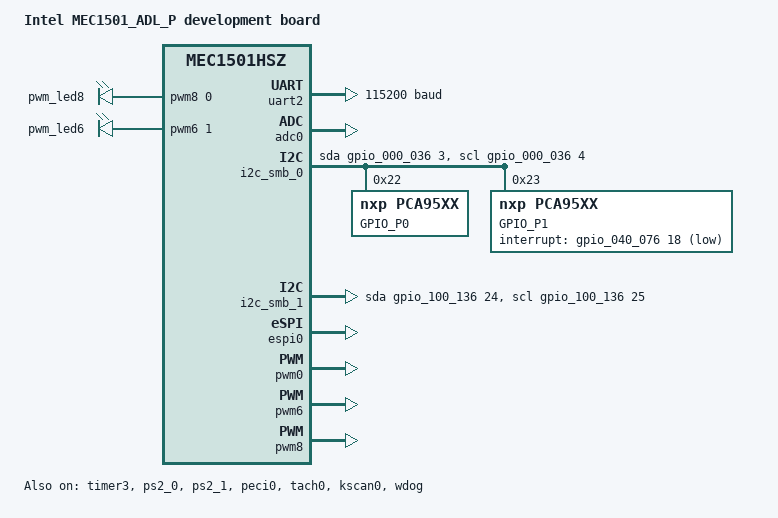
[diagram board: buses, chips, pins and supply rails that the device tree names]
/*
 * Copyright (c) 2020, Intel Corporation
 *
 * SPDX-License-Identifier: Apache-2.0
 */

/dts-v1/;

#include <microchip/mec1501hsz.dtsi>

/ {
	model = "Intel MEC1501_ADL_P development board";
	compatible = "microchip, mec1501_adl_p",
		     "microchip,mec1501hsz";

	chosen {
		zephyr,sram = &sram0;
		zephyr,console = &uart2;
		zephyr,flash = &flash0;
	};

	aliases {
		pwm-0 = &pwm0;
		peci-0 = &peci0;
		pwm-led8 = &pwm_led8;
		pwm-led6 = &pwm_led6;

		i2c0 = &i2c_smb_0;
		i2c1 = &i2c_smb_1;
	};

	pwmleds {
		compatible = "pwm-leds";

		pwm_led8: pwm_led8 {
			pwms = <&pwm8 0>;
		};

		pwm_led6: pwm_led6 {
			pwms = <&pwm6 1>;
		};
	};
	power-states {
		idle: idle {
			compatible = "zephyr,power-state";
			power-state-name = "suspend-to-idle";
			min-residency-us = <300000>;
		};

		suspend_to_ram: suspend_to_ram {
			compatible = "zephyr,power-state";
			power-state-name = "suspend-to-ram";
			min-residency-us = <700000>;
		};
	};
};

&cpu0 {
	cpu-power-states = <&idle &suspend_to_ram>;
};

&uart2 {
	status = "okay";
	current-speed = <115200>;
};

&adc0 {
	status = "okay";
};

&i2c_smb_0 {
	status = "okay";
	label = "I2C0";
	port_sel = <0>;
	sda-gpios = <&gpio_000_036 3 0>;
	scl-gpios = <&gpio_000_036 4 0>;

	pca9555@22 {
		compatible = "nxp,pca95xx";
		label = "GPIO_P0";

		/* I2C address depends on PCA9555 HW straps.
		 * Address is: 0100<A2><A1><A0>b.
		 */
		reg = <0x22>;
		gpio-controller;
		#gpio-cells = <2>;
	};

	pca9555@23 {
		compatible = "nxp,pca95xx";
		label = "GPIO_P1";

		/* I2C address depends on PCA9555 HW straps.
		 * Address is: 0100<A2><A1><A0>b.
		 */
		reg = <0x23>;
		/* GPIO062 */
		interrupt-gpios = <&gpio_040_076 18 GPIO_ACTIVE_LOW>;
		gpio-controller;
		#gpio-cells = <2>;
		ngpios = <16>;
	};
};

&i2c_smb_1 {
	status = "okay";
	label = "I2C1";
	port_sel = <1>;
	sda-gpios = <&gpio_100_136 24 0>;
	scl-gpios = <&gpio_100_136 25 0>;
};

&espi0 {
	status = "okay";
	io_girq = <19>;
	vw_girqs = <24 25>;
	pc_girq = <15>;
};

&timer3 {
	status = "okay";
};

&ps2_0 {
	status = "okay";
};

&ps2_1 {
	status = "okay";
};

&pwm0 {
	status = "okay";
};

&pwm6 {
	status = "okay";
};

&pwm8 {
	status = "okay";
};

&peci0 {
	status = "okay";
};

&tach0 {
	status = "okay";
};

&kscan0 {
	status = "okay";
};
&wdog {
	status = "okay";
};
